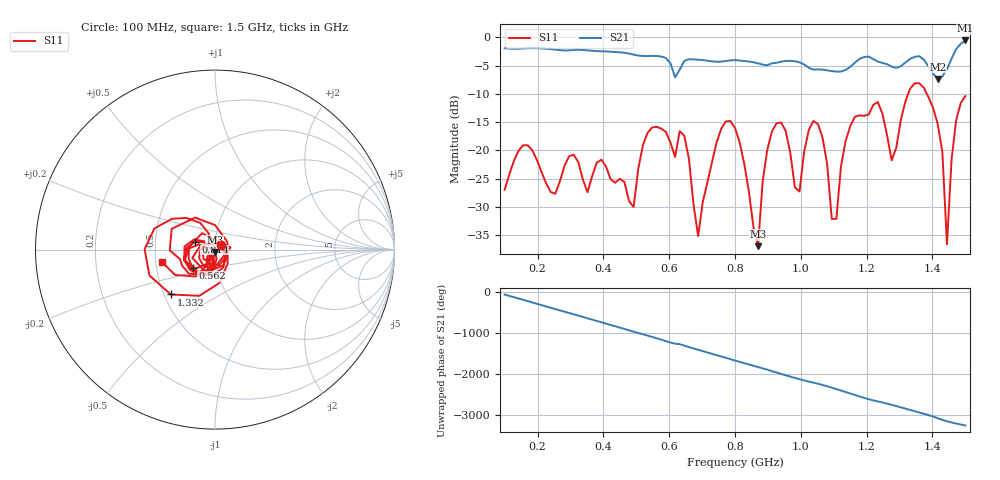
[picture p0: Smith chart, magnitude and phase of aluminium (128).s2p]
! NanoVNA-App
! Date: 2025-09-25 14:56:16
! Start: 100MHz Stop: 1,5GHz Points: 101
! S-Parameter data: F S11 S21 S12 S22
# Hz S RI R 50
!  Frequency  S11_Real  S11_Imag  S21_Real  S21_Imag  S12_Real  S12_Imag  S22_Real  S22_Imag
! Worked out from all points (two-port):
!   101 points, 100 MHz to 1.5 GHz, reference 50 ohm
!   highest |S21| = -0.54 dB at 1.5 GHz (marker M1); lowest = -7.3 dB at 1.416 GHz (marker M2)
!   |S21| within 3 dB of the highest: start of sweep to 584.4 MHz; 1.46 GHz to end of sweep (the widest 2 of 4)
!   lowest |S11| = -37.0 dB at 870 MHz (marker M3), VSWR 1.03, Z = 49.9 - j1.41 ohm
!   |S11| at or under -10 dB: start of sweep to 1.326 GHz; 1.383 GHz to end of sweep
!   S12 and S22 are empty: the file has one direction only
!   S11 on the Smith chart (normalised r, x): 100 MHz: 1.07, +0.06; 562 MHz: 0.76, -0.16; 814 MHz: 0.80, +0.07; 1.332 GHz: 0.54, -0.31; 1.5 GHz: 0.54, -0.08
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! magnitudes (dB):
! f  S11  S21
! 100 MHz  -27.0  -1.9
! 156 MHz  -19.1  -2.0
! 338 MHz  -25.2  -2.2
! 492 MHz  -30.1  -3.1
! 562 MHz  -15.8  -3.3
! 576 MHz  -16.2  -3.4
! 646 MHz  -17.4  -4.2
! 688 MHz  -35.2  -4.0
! 800 MHz  -16.0  -4.0
! 814 MHz  -18.6  -4.1
! 870 MHz  -37.0  -4.6
! 912 MHz  -16.7  -4.6
! 996 MHz  -27.3  -4.4
! 1.038 GHz  -14.8  -5.7
! 1.094 GHz  -32.2  -6.0
! 1.164 GHz  -14.1  -4.5
! 1.276 GHz  -21.8  -5.2
! 1.332 GHz  -9.1  -3.8
! 1.416 GHz  -15.4  -7.3
! 1.444 GHz  -36.7  -5.6
! 1.472 GHz  -14.7  -2.1
! 1.5 GHz  -10.4  -0.5
